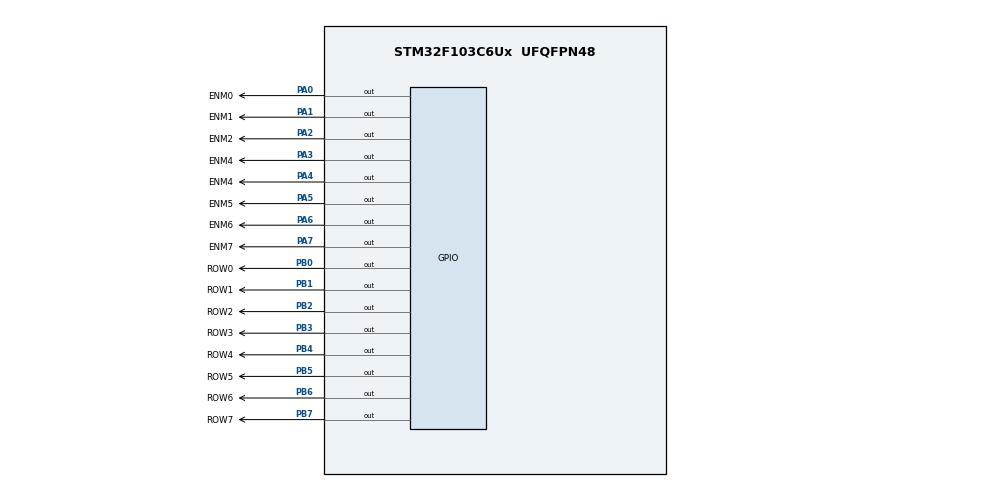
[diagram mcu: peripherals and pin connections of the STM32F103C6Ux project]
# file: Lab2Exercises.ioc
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Mcu.Family=STM32F1
Mcu.Name=STM32F103C6Ux
Mcu.Package=UFQFPN48
NVIC.PriorityGroup=NVIC_PRIORITYGROUP_4
NVIC.TIM2_IRQn=true\:0\:0\:false\:false\:true\:true\:true
PA0-WKUP.GPIO_Label=ENM0
PA0-WKUP.Signal=GPIO_Output
PA1.GPIO_Label=ENM1
PA1.Signal=GPIO_Output
PA2.GPIO_Label=ENM2
PA2.Signal=GPIO_Output
PA3.GPIO_Label=ENM4
PA3.Signal=GPIO_Output
PA4.GPIO_Label=ENM4
PA4.Signal=GPIO_Output
PA5.GPIO_Label=ENM5
PA5.Signal=GPIO_Output
PA6.GPIO_Label=ENM6
PA6.Signal=GPIO_Output
PA7.GPIO_Label=ENM7
PA7.Signal=GPIO_Output
PB0.GPIO_Label=ROW0
PB0.Signal=GPIO_Output
PB1.GPIO_Label=ROW1
PB1.Signal=GPIO_Output
PB2.GPIO_Label=ROW2
PB2.Signal=GPIO_Output
PB3.GPIO_Label=ROW3
PB3.Signal=GPIO_Output
PB4.GPIO_Label=ROW4
PB4.Signal=GPIO_Output
PB5.GPIO_Label=ROW5
PB5.Signal=GPIO_Output
PB6.GPIO_Label=ROW6
PB6.Signal=GPIO_Output
PB7.GPIO_Label=ROW7
PB7.Signal=GPIO_Output
ProjectManager.HeapSize=0x200
ProjectManager.StackSize=0x400
ProjectManager.TargetToolchain=STM32CubeIDE
RCC.APB1Freq_Value=8000000
RCC.APB2Freq_Value=8000000
TIM2.Period=9
TIM2.Prescaler=7999
VP_SYS_VS_ND.Mode=No_Debug
VP_TIM2_VS_ClockSourceINT.Mode=Internal
board=custom

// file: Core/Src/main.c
/* USER CODE BEGIN Header */
/**
  ******************************************************************************
  * @file           : main.c
  * @brief          : Main program body
  ******************************************************************************
  * @attention
  *
  * <h2><center>&copy; Copyright (c) 2023 STMicroelectronics.
  * All rights reserved.</center></h2>
  *
  * This software component is licensed by ST under BSD 3-Clause license,
  * the "License"; You may not use this file except in compliance with the
  * License. You may obtain a copy of the License at:
  *                        opensource.org/licenses/BSD-3-Clause
  *
  ******************************************************************************
  */
/* USER CODE END Header */
#include "main.h"

/* USER CODE BEGIN Includes */
#include "SoftwareTimer.h"

/* USER CODE END Includes */

TIM_HandleTypeDef htim2;

void SystemClock_Config(void);
static void MX_GPIO_Init(void);
static void MX_TIM2_Init(void);

int main(void)
{

  /* MCU Configuration--------------------------------------------------------*/

  /* Reset of all peripherals, Initializes the Flash interface and the Systick. */
  HAL_Init();

  /* Configure the system clock */
  SystemClock_Config();

  /* Initialize all configured peripherals */
  MX_GPIO_Init();
  MX_TIM2_Init();
  /* USER CODE BEGIN 2 */
  HAL_TIM_Base_Start_IT(&htim2);
  /* USER CODE END 2 */

  /* Infinite loop */
  /* USER CODE BEGIN WHILE */
  setTimer1(100);
//  setTimer2(500);
  int count = 0;
  while (1)
  {
	  if(timer1Flag == 1){
		  setTimer1(100);
		  timer1Flag = 0;
		  //TODO
		  if(count >= 8){
			  matrixShiftLeft();
			  count = 0;
		  }
		  matrixDisplayRow(count);
		  matrixLedScanCol(count++);
	  }

    /* USER CODE END WHILE */

  }
}

void SystemClock_Config(void)
{
  RCC_OscInitTypeDef RCC_OscInitStruct = {0};
  RCC_ClkInitTypeDef RCC_ClkInitStruct = {0};

  /** Initializes the RCC Oscillators according to the specified parameters
  * in the RCC_OscInitTypeDef structure.
  */
  RCC_OscInitStruct.OscillatorType = RCC_OSCILLATORTYPE_HSI;
  RCC_OscInitStruct.HSIState = RCC_HSI_ON;
  RCC_OscInitStruct.HSICalibrationValue = RCC_HSICALIBRATION_DEFAULT;
  RCC_OscInitStruct.PLL.PLLState = RCC_PLL_NONE;
  if (HAL_RCC_OscConfig(&RCC_OscInitStruct) != HAL_OK)
  {
    Error_Handler();
  }
  /** Initializes the CPU, AHB and APB buses clocks
  */
  RCC_ClkInitStruct.ClockType = RCC_CLOCKTYPE_HCLK|RCC_CLOCKTYPE_SYSCLK
                              |RCC_CLOCKTYPE_PCLK1|RCC_CLOCKTYPE_PCLK2;
  RCC_ClkInitStruct.SYSCLKSource = RCC_SYSCLKSOURCE_HSI;
  RCC_ClkInitStruct.AHBCLKDivider = RCC_SYSCLK_DIV1;
  RCC_ClkInitStruct.APB1CLKDivider = RCC_HCLK_DIV1;
  RCC_ClkInitStruct.APB2CLKDivider = RCC_HCLK_DIV1;

  if (HAL_RCC_ClockConfig(&RCC_ClkInitStruct, FLASH_LATENCY_0) != HAL_OK)
  {
    Error_Handler();
  }
}

static void MX_TIM2_Init(void)
{

  TIM_ClockConfigTypeDef sClockSourceConfig = {0};
  TIM_MasterConfigTypeDef sMasterConfig = {0};

  htim2.Instance = TIM2;
  htim2.Init.Prescaler = 7999;
  htim2.Init.CounterMode = TIM_COUNTERMODE_UP;
  htim2.Init.Period = 9;
  htim2.Init.ClockDivision = TIM_CLOCKDIVISION_DIV1;
  htim2.Init.AutoReloadPreload = TIM_AUTORELOAD_PRELOAD_DISABLE;
  if (HAL_TIM_Base_Init(&htim2) != HAL_OK)
  {
    Error_Handler();
  }
  sClockSourceConfig.ClockSource = TIM_CLOCKSOURCE_INTERNAL;
  if (HAL_TIM_ConfigClockSource(&htim2, &sClockSourceConfig) != HAL_OK)
  {
    Error_Handler();
  }
  sMasterConfig.MasterOutputTrigger = TIM_TRGO_RESET;
  sMasterConfig.MasterSlaveMode = TIM_MASTERSLAVEMODE_DISABLE;
  if (HAL_TIMEx_MasterConfigSynchronization(&htim2, &sMasterConfig) != HAL_OK)
  {
    Error_Handler();
  }

}

static void MX_GPIO_Init(void)
{
  GPIO_InitTypeDef GPIO_InitStruct = {0};

  /* GPIO Ports Clock Enable */
  __HAL_RCC_GPIOA_CLK_ENABLE();
  __HAL_RCC_GPIOB_CLK_ENABLE();

  /*Configure GPIO pin Output Level */
  HAL_GPIO_WritePin(GPIOA, ENM0_Pin|ENM1_Pin|ENM2_Pin|ENM4_Pin
                          |ENM4A4_Pin|ENM5_Pin|ENM6_Pin|ENM7_Pin, GPIO_PIN_RESET);

  /*Configure GPIO pin Output Level */
  HAL_GPIO_WritePin(GPIOB, ROW0_Pin|ROW1_Pin|ROW2_Pin|ROW3_Pin
                          |ROW4_Pin|ROW5_Pin|ROW6_Pin|ROW7_Pin, GPIO_PIN_RESET);

  /*Configure GPIO pins : ENM0_Pin ENM1_Pin ENM2_Pin ENM4_Pin
                           ENM4A4_Pin ENM5_Pin ENM6_Pin ENM7_Pin */
  GPIO_InitStruct.Pin = ENM0_Pin|ENM1_Pin|ENM2_Pin|ENM4_Pin
                          |ENM4A4_Pin|ENM5_Pin|ENM6_Pin|ENM7_Pin;
  GPIO_InitStruct.Mode = GPIO_MODE_OUTPUT_PP;
  GPIO_InitStruct.Pull = GPIO_NOPULL;
  GPIO_InitStruct.Speed = GPIO_SPEED_FREQ_LOW;
  HAL_GPIO_Init(GPIOA, &GPIO_InitStruct);

  /*Configure GPIO pins : ROW0_Pin ROW1_Pin ROW2_Pin ROW3_Pin
                           ROW4_Pin ROW5_Pin ROW6_Pin ROW7_Pin */
  GPIO_InitStruct.Pin = ROW0_Pin|ROW1_Pin|ROW2_Pin|ROW3_Pin
                          |ROW4_Pin|ROW5_Pin|ROW6_Pin|ROW7_Pin;
  GPIO_InitStruct.Mode = GPIO_MODE_OUTPUT_PP;
  GPIO_InitStruct.Pull = GPIO_NOPULL;
  GPIO_InitStruct.Speed = GPIO_SPEED_FREQ_LOW;
  HAL_GPIO_Init(GPIOB, &GPIO_InitStruct);

}

/* USER CODE BEGIN 4 */
uint8_t matrixLedCol[8] = {0x01, 0x02, 0x04, 0x08, 0x10, 0x20, 0x40, 0x80};
void matrixLedScanCol(int num){
	GPIOA -> ODR = ~matrixLedCol[num];
}

uint8_t matrixLedRowDisplayA[8] = {0x00, 0xFC, 0xFE, 0x11, 0x11, 0xFE, 0xFC, 0x00};
void matrixDisplayRow(int num){
	GPIOB -> ODR = ~matrixLedRowDisplayA[num];
}

//unit8_t matrixLedRowShifted[8] = matrixLedRowDisplayA[8];
void matrixShiftLeft(){

		matrixLedRowDisplayA[0] = matrixLedRowDisplayA[1];
		matrixLedRowDisplayA[1] = matrixLedRowDisplayA[2];
		matrixLedRowDisplayA[2] = matrixLedRowDisplayA[3];
		matrixLedRowDisplayA[3] = matrixLedRowDisplayA[4];
		matrixLedRowDisplayA[4] = matrixLedRowDisplayA[5];
		matrixLedRowDisplayA[5] = matrixLedRowDisplayA[6];
		matrixLedRowDisplayA[6] = matrixLedRowDisplayA[7];
		matrixLedRowDisplayA[7] = matrixLedRowDisplayA[0];

}

	void HAL_TIM_PeriodElapsedCallback	(TIM_HandleTypeDef *htim){
		timerRun();
		timerRun2();
	}

/* USER CODE END 4 */

void Error_Handler(void)
{
  __disable_irq();
  while (1)
  {
  }
}

/************************ (C) COPYRIGHT STMicroelectronics *****END OF FILE****/
